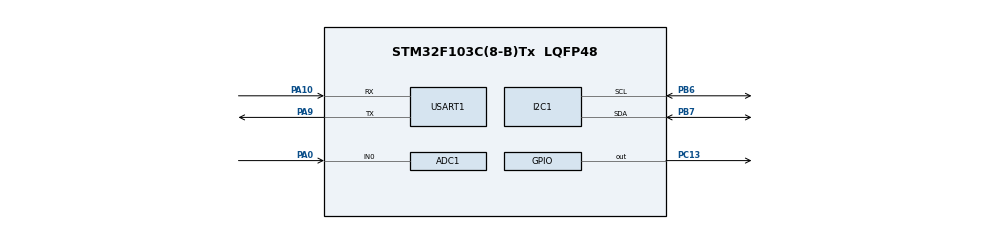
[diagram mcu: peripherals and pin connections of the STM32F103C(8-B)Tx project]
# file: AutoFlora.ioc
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ADC1.Channel-0\#ChannelRegularConversion=ADC_CHANNEL_0
ADC1.NbrOfConversionFlag=1
ADC1.Rank-0\#ChannelRegularConversion=1
ADC1.SamplingTime-0\#ChannelRegularConversion=ADC_SAMPLETIME_55CYCLES_5
ADC1.master=1
Mcu.Family=STM32F1
Mcu.Name=STM32F103C(8-B)Tx
Mcu.Package=LQFP48
NVIC.PriorityGroup=NVIC_PRIORITYGROUP_4
PA0-WKUP.Signal=ADCx_IN0
PA10.Mode=Asynchronous
PA10.Signal=USART1_RX
PA13.Mode=Serial_Wire
PA13.Signal=SYS_JTMS-SWDIO
PA14.Mode=Serial_Wire
PA14.Signal=SYS_JTCK-SWCLK
PA9.Mode=Asynchronous
PA9.Signal=USART1_TX
PB6.Mode=I2C
PB6.Signal=I2C1_SCL
PB7.Mode=I2C
PB7.Signal=I2C1_SDA
PC13-TAMPER-RTC.Signal=GPIO_Output
ProjectManager.HeapSize=0x200
ProjectManager.StackSize=0x400
ProjectManager.TargetToolchain=CMake
RCC.APB1Freq_Value=8000000
RCC.APB2Freq_Value=8000000
SH.ADCx_IN0.0=ADC1_IN0,IN0
USART1.VirtualMode=VM_ASYNC
board=custom

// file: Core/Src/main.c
/* USER CODE BEGIN Header */
/**
  ******************************************************************************
  * @file           : main.c
  * @brief          : Main program body
  ******************************************************************************
  * @attention
  *
  * Copyright (c) 2026 STMicroelectronics.
  * All rights reserved.
  *
  * This software is licensed under terms that can be found in the LICENSE file
  * in the root directory of this software component.
  * If no LICENSE file comes with this software, it is provided AS-IS.
  *
  ******************************************************************************
  */
/* USER CODE END Header */
#include "main.h"

/* USER CODE BEGIN Includes */
#include <stdio.h>
#include <string.h>
/* USER CODE END Includes */

ADC_HandleTypeDef hadc1;

I2C_HandleTypeDef hi2c1;

UART_HandleTypeDef huart1;

void SystemClock_Config(void);
static void MX_GPIO_Init(void);
static void MX_USART1_UART_Init(void);
static void MX_I2C1_Init(void);
static void MX_ADC1_Init(void);
/* USER CODE BEGIN PFP */
static void UART_TransmitBoxBorder(void);
static void UART_TransmitBoxLine(const char *message, uint16_t length);
/* USER CODE END PFP */

/* USER CODE BEGIN 0 */
#define UART_BOX_CONTENT_WIDTH 62U

static void UART_TransmitBoxBorder(void)
{
    char border[UART_BOX_CONTENT_WIDTH + 7U];

    memset(border, '-', UART_BOX_CONTENT_WIDTH + 4U);
    border[UART_BOX_CONTENT_WIDTH + 4U] = '\r';
    border[UART_BOX_CONTENT_WIDTH + 5U] = '\n';

    HAL_UART_Transmit(
        &huart1,
        (uint8_t *)border,
        UART_BOX_CONTENT_WIDTH + 6U,
        HAL_MAX_DELAY
    );
}

static void UART_TransmitBoxLine(const char *message, uint16_t length)
{
    char line[UART_BOX_CONTENT_WIDTH + 7U];
    uint16_t printableLength = length;
    uint16_t offset = 0;

    while (printableLength > 0U &&
           (message[printableLength - 1U] == '\r' ||
            message[printableLength - 1U] == '\n'))
    {
        printableLength--;
    }

    do
    {
        uint16_t remaining = printableLength - offset;
        uint16_t chunkLength = remaining > UART_BOX_CONTENT_WIDTH
            ? UART_BOX_CONTENT_WIDTH
            : remaining;

        line[0] = '|';
        line[1] = ' ';
        memset(&line[2], ' ', UART_BOX_CONTENT_WIDTH);
        memcpy(&line[2], &message[offset], chunkLength);
        line[UART_BOX_CONTENT_WIDTH + 2U] = ' ';
        line[UART_BOX_CONTENT_WIDTH + 3U] = '|';
        line[UART_BOX_CONTENT_WIDTH + 4U] = '\r';
        line[UART_BOX_CONTENT_WIDTH + 5U] = '\n';

        HAL_UART_Transmit(
            &huart1,
            (uint8_t *)line,
            UART_BOX_CONTENT_WIDTH + 6U,
            HAL_MAX_DELAY
        );

        offset += chunkLength;
    } while (offset < printableLength);
}
/* USER CODE END 0 */

int main(void)
{

  /* MCU Configuration--------------------------------------------------------*/

  /* Reset of all peripherals, Initializes the Flash interface and the Systick. */
  HAL_Init();

  /* Configure the system clock */
  SystemClock_Config();

  /* Initialize all configured peripherals */
  MX_GPIO_Init();
  MX_USART1_UART_Init();
  MX_I2C1_Init();
  MX_ADC1_Init();
  /* USER CODE BEGIN 2 */

  char msg[64];

  /* ADC calibration - unrelated to I2C, okay to leave here */
  if (HAL_ADCEx_Calibration_Start(&hadc1) != HAL_OK)
  {
    Error_Handler();
  }

  /* Give AHT20 time after power-up */
  HAL_Delay(100);

  UART_TransmitBoxBorder();

  /* ============================= */
  /* AHT20 INITIALIZATION          */
  /* ============================= */

  uint8_t initCmd[3] = {0xBE, 0x08, 0x00};

  HAL_StatusTypeDef ahtInitStatus = HAL_I2C_Master_Transmit(
      &hi2c1,
      0x38 << 1,
      initCmd,
      3,
      100
  );

  if (ahtInitStatus == HAL_OK)
  {
    char ahtMsg[] = "AHT20 init OK\r\n";

    UART_TransmitBoxLine(ahtMsg, sizeof(ahtMsg) - 1);
  }
  else
  {
    int len = snprintf(
        msg,
        sizeof(msg),
        "AHT20 init failed: status=%d error=0x%08lX\r\n",
        ahtInitStatus,
        HAL_I2C_GetError(&hi2c1)
    );

    UART_TransmitBoxLine(msg, (uint16_t)len);
  }

  /* Give BH1750 time after power-up */
  HAL_Delay(40);

  /* BH1750 mode command */
  uint8_t bh1750Mode = 0x10;

  HAL_I2C_Master_Transmit(
      &hi2c1,
      0x23 << 1,
      &bh1750Mode,
      1,
      100
  );

  HAL_Delay(40);
  UART_TransmitBoxBorder();
  /* USER CODE END 2 */

  /* Infinite loop */
  /* USER CODE BEGIN WHILE */
while (1)
{
    UART_TransmitBoxBorder();
    int len;

    /* ==================== AHT20 ==================== */

    uint8_t triggerCmd[3] = {0xAC, 0x33, 0x00};
    uint8_t data[6];

    HAL_StatusTypeDef ahtResult;

    /* Tell AHT20 to take a measurement */
    ahtResult = HAL_I2C_Master_Transmit(
        &hi2c1,
        0x38 << 1,
        triggerCmd,
        3,
        100
    );

    if (ahtResult == HAL_OK)
    {
        HAL_Delay(80);

        /* Read measurement */
        ahtResult = HAL_I2C_Master_Receive(
            &hi2c1,
            0x38 << 1,
            data,
            6,
            100
        );

        if (ahtResult == HAL_OK)
        {
            uint32_t rawTemperature =
                ((uint32_t)(data[3] & 0x0F) << 16) |
                ((uint32_t)data[4] << 8) |
                data[5];

            float temperature =
                ((float)rawTemperature * 200.0f / 1048576.0f)
                - 50.0f;

            uint32_t rawHumidity =
                ((uint32_t)data[1] << 12) |
                ((uint32_t)data[2] << 4) |
                ((data[3] & 0xF0) >> 4);

            float humidity =
                ((float)rawHumidity * 100.0f / 1048576.0f);

            len = snprintf(
                msg,
                sizeof(msg),
                "Temperature: %.2f C | Humidity: %.2f %%\r\n",
                temperature,
                humidity
            );

            UART_TransmitBoxLine(msg, (uint16_t)len);
        }
        else
        {
            char error[80];
            snprintf(error, sizeof(error),
                     "AHT20 read failed: status=%u error=0x%08lX\r\n",
                     (unsigned int)ahtResult,
                     (unsigned long)HAL_I2C_GetError(&hi2c1));

            UART_TransmitBoxLine(error, (uint16_t)strlen(error));
        }
    }
    else
    {
        char error[80];
        snprintf(error, sizeof(error),
                 "AHT20 command failed: status=%u error=0x%08lX\r\n",
                 (unsigned int)ahtResult,
                 (unsigned long)HAL_I2C_GetError(&hi2c1));

        UART_TransmitBoxLine(error, (uint16_t)strlen(error));
    }

    /* ==================== BH1750 ==================== */

    uint8_t bhData[2];

    HAL_StatusTypeDef bhResult =
        HAL_I2C_Master_Receive(
            &hi2c1,
            0x23 << 1,
            bhData,
            2,
            100
        );

    if (bhResult == HAL_OK)
    {
        uint16_t rawLight =
            ((uint16_t)bhData[0] << 8) |
            bhData[1];

        float lux = rawLight / 1.2f;

        len = snprintf(
            msg,
            sizeof(msg),
            "BH1750 | Raw: %u | Light: %.2f lux\r\n",
            rawLight,
            lux
        );

        UART_TransmitBoxLine(msg, (uint16_t)len);
    }
    else
    {
        char error[80];
        snprintf(error, sizeof(error),
                 "BH1750 read failed: status=%u error=0x%08lX\r\n",
                 (unsigned int)bhResult,
                 (unsigned long)HAL_I2C_GetError(&hi2c1));

        UART_TransmitBoxLine(error, (uint16_t)strlen(error));
    }

    /* ==================== SOIL SENSOR ==================== */

    HAL_StatusTypeDef adcStart =
        HAL_ADC_Start(&hadc1);

    if (adcStart == HAL_OK)
    {
        HAL_StatusTypeDef adcPoll =
            HAL_ADC_PollForConversion(&hadc1, 100);

        if (adcPoll == HAL_OK)
        {
            uint32_t soilRaw =
                HAL_ADC_GetValue(&hadc1);

            len = snprintf(
                msg,
                sizeof(msg),
                "Soil raw ADC: %lu\r\n",
                (unsigned long)soilRaw
            );

            UART_TransmitBoxLine(msg, (uint16_t)len);
        }
        else
        {
            char error[] = "Soil ADC conversion failed\r\n";

            UART_TransmitBoxLine(error, sizeof(error) - 1);
        }
    }
    else
    {
        char error[] = "Soil ADC start failed\r\n";

        UART_TransmitBoxLine(error, sizeof(error) - 1);
    }
    HAL_ADC_Stop(&hadc1);

    UART_TransmitBoxBorder();

    /* Wait before next sensor update */
    HAL_Delay(2000);
  }
  /* USER CODE END WHILE */
}

void SystemClock_Config(void)
{
  RCC_OscInitTypeDef RCC_OscInitStruct = {0};
  RCC_ClkInitTypeDef RCC_ClkInitStruct = {0};
  RCC_PeriphCLKInitTypeDef PeriphClkInit = {0};

  /** Initializes the RCC Oscillators according to the specified parameters
  * in the RCC_OscInitTypeDef structure.
  */
  RCC_OscInitStruct.OscillatorType = RCC_OSCILLATORTYPE_HSI;
  RCC_OscInitStruct.HSIState = RCC_HSI_ON;
  RCC_OscInitStruct.HSICalibrationValue = RCC_HSICALIBRATION_DEFAULT;
  RCC_OscInitStruct.PLL.PLLState = RCC_PLL_NONE;
  if (HAL_RCC_OscConfig(&RCC_OscInitStruct) != HAL_OK)
  {
    Error_Handler();
  }

  /** Initializes the CPU, AHB and APB buses clocks
  */
  RCC_ClkInitStruct.ClockType = RCC_CLOCKTYPE_HCLK|RCC_CLOCKTYPE_SYSCLK
                              |RCC_CLOCKTYPE_PCLK1|RCC_CLOCKTYPE_PCLK2;
  RCC_ClkInitStruct.SYSCLKSource = RCC_SYSCLKSOURCE_HSI;
  RCC_ClkInitStruct.AHBCLKDivider = RCC_SYSCLK_DIV1;
  RCC_ClkInitStruct.APB1CLKDivider = RCC_HCLK_DIV1;
  RCC_ClkInitStruct.APB2CLKDivider = RCC_HCLK_DIV1;

  if (HAL_RCC_ClockConfig(&RCC_ClkInitStruct, FLASH_LATENCY_0) != HAL_OK)
  {
    Error_Handler();
  }
  PeriphClkInit.PeriphClockSelection = RCC_PERIPHCLK_ADC;
  PeriphClkInit.AdcClockSelection = RCC_ADCPCLK2_DIV2;
  if (HAL_RCCEx_PeriphCLKConfig(&PeriphClkInit) != HAL_OK)
  {
    Error_Handler();
  }
}

static void MX_ADC1_Init(void)
{

  ADC_ChannelConfTypeDef sConfig = {0};

  /** Common config
  */
  hadc1.Instance = ADC1;
  hadc1.Init.ScanConvMode = ADC_SCAN_DISABLE;
  hadc1.Init.ContinuousConvMode = DISABLE;
  hadc1.Init.DiscontinuousConvMode = DISABLE;
  hadc1.Init.ExternalTrigConv = ADC_SOFTWARE_START;
  hadc1.Init.DataAlign = ADC_DATAALIGN_RIGHT;
  hadc1.Init.NbrOfConversion = 1;
  if (HAL_ADC_Init(&hadc1) != HAL_OK)
  {
    Error_Handler();
  }

  /** Configure Regular Channel
  */
  sConfig.Channel = ADC_CHANNEL_0;
  sConfig.Rank = ADC_REGULAR_RANK_1;
  sConfig.SamplingTime = ADC_SAMPLETIME_55CYCLES_5;
  if (HAL_ADC_ConfigChannel(&hadc1, &sConfig) != HAL_OK)
  {
    Error_Handler();
  }

}

static void MX_I2C1_Init(void)
{

  hi2c1.Instance = I2C1;
  hi2c1.Init.ClockSpeed = 100000;
  hi2c1.Init.DutyCycle = I2C_DUTYCYCLE_2;
  hi2c1.Init.OwnAddress1 = 0;
  hi2c1.Init.AddressingMode = I2C_ADDRESSINGMODE_7BIT;
  hi2c1.Init.DualAddressMode = I2C_DUALADDRESS_DISABLE;
  hi2c1.Init.OwnAddress2 = 0;
  hi2c1.Init.GeneralCallMode = I2C_GENERALCALL_DISABLE;
  hi2c1.Init.NoStretchMode = I2C_NOSTRETCH_DISABLE;
  if (HAL_I2C_Init(&hi2c1) != HAL_OK)
  {
    Error_Handler();
  }

}

static void MX_USART1_UART_Init(void)
{

  huart1.Instance = USART1;
  huart1.Init.BaudRate = 115200;
  huart1.Init.WordLength = UART_WORDLENGTH_8B;
  huart1.Init.StopBits = UART_STOPBITS_1;
  huart1.Init.Parity = UART_PARITY_NONE;
  huart1.Init.Mode = UART_MODE_TX_RX;
  huart1.Init.HwFlowCtl = UART_HWCONTROL_NONE;
  huart1.Init.OverSampling = UART_OVERSAMPLING_16;
  if (HAL_UART_Init(&huart1) != HAL_OK)
  {
    Error_Handler();
  }

}

static void MX_GPIO_Init(void)
{
  GPIO_InitTypeDef GPIO_InitStruct = {0};

  /* GPIO Ports Clock Enable */
  __HAL_RCC_GPIOC_CLK_ENABLE();
  __HAL_RCC_GPIOA_CLK_ENABLE();
  __HAL_RCC_GPIOB_CLK_ENABLE();

  /*Configure GPIO pin Output Level */
  HAL_GPIO_WritePin(GPIOC, GPIO_PIN_13, GPIO_PIN_RESET);

  /*Configure GPIO pin : PC13 */
  GPIO_InitStruct.Pin = GPIO_PIN_13;
  GPIO_InitStruct.Mode = GPIO_MODE_OUTPUT_PP;
  GPIO_InitStruct.Pull = GPIO_NOPULL;
  GPIO_InitStruct.Speed = GPIO_SPEED_FREQ_LOW;
  HAL_GPIO_Init(GPIOC, &GPIO_InitStruct);

}

void Error_Handler(void)
{
  __disable_irq();
  while (1)
  {
  }
}
